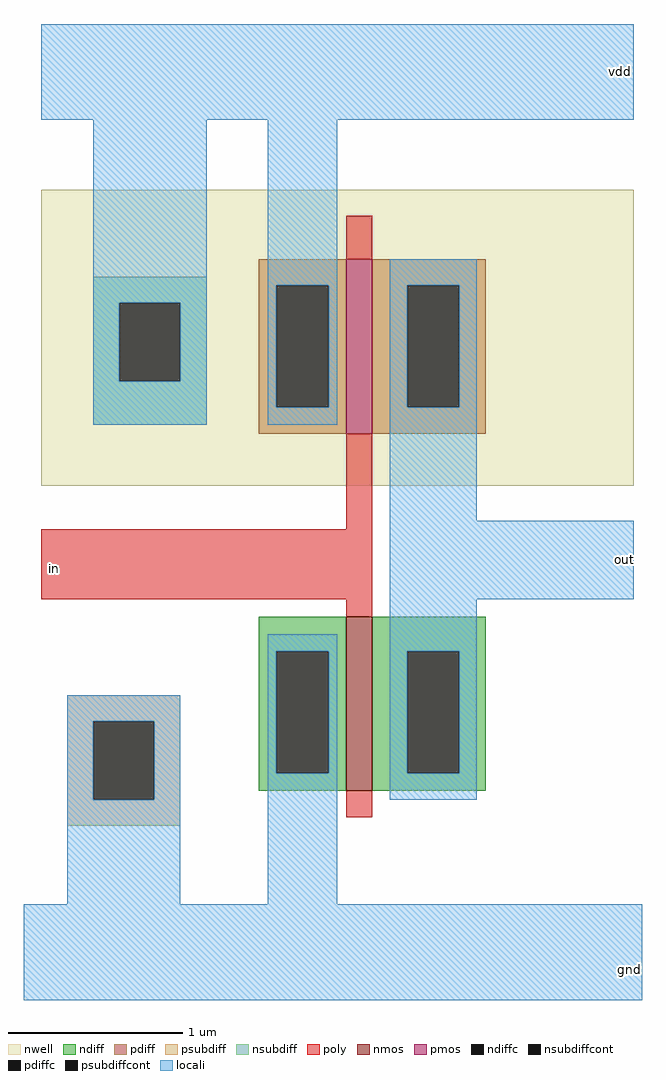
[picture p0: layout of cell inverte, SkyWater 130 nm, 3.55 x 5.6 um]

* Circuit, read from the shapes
.subckt inverte vdd in out gnd
XM1 out in gnd gnd sky130_fd_pr__nfet_01v8 w=1 l=0.15
XM2 out in vdd vdd sky130_fd_pr__pfet_01v8 w=1 l=0.15
.ends

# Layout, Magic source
magic
tech sky130A
<< nwell >>
rect -180 150 160 320
<< nmos >>
rect -5 -25 10 75
<< pmos >>
rect -5 180 10 280
<< ndiff >>
rect -55 55 -5 75
rect -55 -15 -45 55
rect -15 -15 -5 55
rect -55 -25 -5 -15
rect 10 55 75 75
rect 10 -15 30 55
rect 60 -15 75 55
rect 10 -25 75 -15
<< pdiff >>
rect -55 265 -5 280
rect -55 195 -45 265
rect -15 195 -5 265
rect -55 180 -5 195
rect 10 265 75 280
rect 10 195 30 265
rect 60 195 75 265
rect 10 180 75 195
<< ndiffc >>
rect -45 -15 -15 55
rect 30 -15 60 55
<< pdiffc >>
rect -45 195 -15 265
rect 30 195 60 265
<< psubdiff >>
rect -165 15 -100 30
rect -165 -30 -150 15
rect -115 -30 -100 15
rect -165 -45 -100 -30
<< nsubdiff >>
rect -150 255 -85 270
rect -150 210 -135 255
rect -100 210 -85 255
rect -150 185 -85 210
<< psubdiffcont >>
rect -150 -30 -115 15
<< nsubdiffcont >>
rect -135 210 -100 255
<< poly >>
rect -5 280 10 305
rect -5 125 10 180
rect -180 85 10 125
rect -5 75 10 85
rect -5 -40 10 -25
<< locali >>
rect -180 360 160 415
rect -150 255 -85 360
rect -150 210 -135 255
rect -100 210 -85 255
rect -150 185 -85 210
rect -50 265 -10 360
rect -50 195 -45 265
rect -15 195 -10 265
rect -50 185 -10 195
rect 20 265 70 280
rect 20 195 30 265
rect 60 195 70 265
rect 20 130 70 195
rect 20 85 160 130
rect -50 55 -10 65
rect -165 15 -100 30
rect -165 -30 -150 15
rect -115 -30 -100 15
rect -165 -90 -100 -30
rect -50 -15 -45 55
rect -15 -15 -10 55
rect -50 -90 -10 -15
rect 20 55 70 85
rect 20 -15 30 55
rect 60 -15 70 55
rect 20 -30 70 -15
rect -190 -145 165 -90
<< labels >>
rlabel locali 150 100 160 115 3 out
port 3 e
rlabel locali 150 -135 165 -120 3 gnd
port 4 e
rlabel locali 145 380 160 395 3 vdd
port 1 e
rlabel poly -180 95 -165 110 3 in
port 2 e
<< end >>
